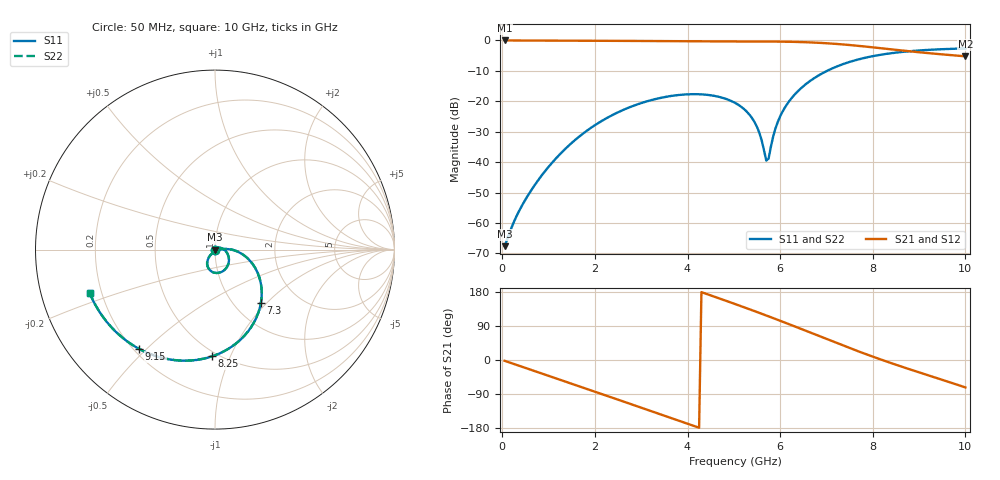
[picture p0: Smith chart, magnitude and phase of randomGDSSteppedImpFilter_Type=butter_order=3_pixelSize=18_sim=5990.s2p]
! freq	dB(S11)	phase(S11)	dB(S12)	phase(S12)
!  dB(S21)	phase(S21)	dB(S22)	phase(S22)
!S-par simulation data
#  GHz  S  DB  R 50
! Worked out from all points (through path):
!   200 points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, 50 MHz to 10 GHz, reference 50 ohm
!   highest |S21| = -0.01 dB at 50 MHz (marker M1); lowest = -5.2 dB at 10 GHz (marker M2)
!   group delay of S21, straight-line fit = 122 ps
!   lowest |S11| = -67.6 dB at 50 MHz (marker M3), VSWR 1.00, Z = 50 + j0.015 ohm
!   |S11| at or under -10 dB: start of sweep to 7.013 GHz
!   |S22| runs from -67.6 to -2.6 dB; largest |S21 - S12| = 0
!   S11 on the Smith chart (normalised r, x): 50 MHz: 1.00, +0.00; 7.3 GHz: 1.31, -0.93; 8.25 GHz: 0.47, -0.86; 9.15 GHz: 0.22, -0.48; 10 GHz: 0.15, -0.17
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0.05  -67.61 21.1  -0.01 -2.1  -0.01 -2.1  -67.60 21.2
0.35  -56.42 67.8  -0.02 -14.7  -0.02 -14.7  -56.42 67.2
0.7  -47.54 64.2  -0.04 -29.3  -0.04 -29.3  -47.56 63.4
1.2  -38.10 44.5  -0.06 -50.1  -0.06 -50.1  -38.11 43.7
1.75  -30.54 20.2  -0.08 -73.2  -0.08 -73.2  -30.55 19.6
2.55  -23.25 -14.6  -0.14 -106.8  -0.14 -106.8  -23.26 -15.1
3.4  -18.94 -50.7  -0.23 -142.7  -0.23 -142.7  -18.94 -51.2
4.25  -17.69 -86.1  -0.32 -178.7  -0.32 -178.7  -17.69 -86.6
5.05  -20.72 -118.0  -0.34 146.7  -0.34 146.7  -20.74 -118.8
5.45  -26.92 -128.9  -0.35 128.9  -0.35 128.9  -26.97 -130.4
5.6  -32.77 -122.7  -0.35 122.1  -0.35 122.1  -32.95 -125.3
5.7  -39.48 -82.4  -0.36 117.5  -0.36 117.5  -40.35 -84.6
5.75  -38.84 -36.4  -0.36 115.2  -0.36 115.2  -39.58 -33.7
5.9  -28.86 2.0  -0.38 108.3  -0.38 108.3  -28.93 3.5
6.05  -23.44 2.6  -0.40 101.2  -0.40 101.2  -23.46 3.4
6.3  -18.01 -5.1  -0.47 89.3  -0.47 89.3  -18.01 -4.7
6.7  -12.75 -22.0  -0.68 70.0  -0.68 70.0  -12.75 -21.9
7.3  -8.11 -49.5  -1.25 41.1  -1.25 41.1  -8.11 -49.5
8.25  -4.51 -91.5  -2.68 -2.0  -2.68 -2.0  -4.51 -91.6
8.35  -4.29 -95.6  -2.84 -6.2  -2.84 -6.2  -4.29 -95.8
9.15  -3.15 -127.3  -4.10 -38.5  -4.10 -38.5  -3.15 -127.5
10  -2.63 -160.8  -5.22 -72.4  -5.22 -72.4  -2.63 -161.1
